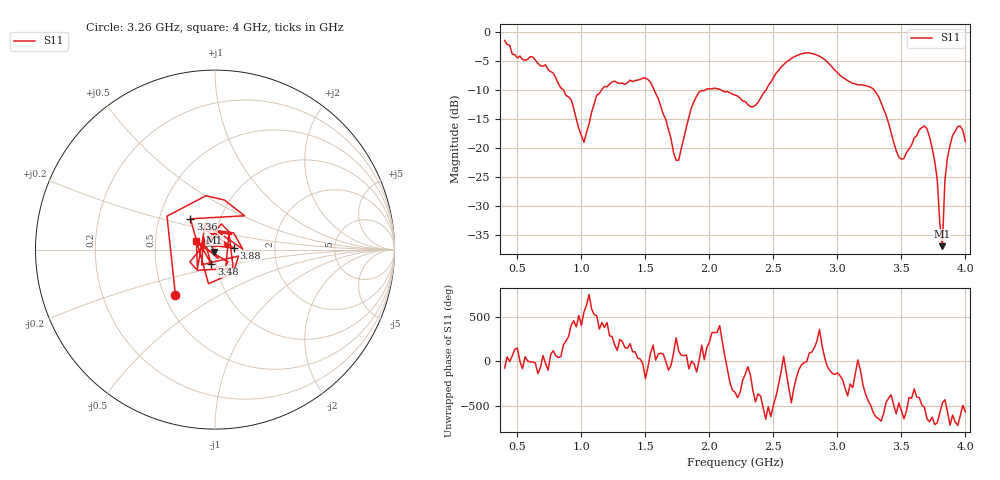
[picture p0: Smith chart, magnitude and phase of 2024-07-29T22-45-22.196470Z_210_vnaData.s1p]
!Created with skrf (http://scikit-rf.org).
# Hz S RI R 50.0
!freq ReS11 ImS11
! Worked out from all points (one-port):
!   181 points, 400 MHz to 4 GHz, reference 50 ohm
!   lowest |S11| = -36.9 dB at 3.82 GHz (marker M1), VSWR 1.03, Z = 49.6 - j1.37 ohm
!   |S11| at or under -10 dB: 1.57 GHz to 1.963 GHz (393.1 MHz wide, 22.3 % of centre); 2.096 GHz to 2.44 GHz (344.6 MHz wide, 15.2 % of centre); 3.289 GHz to end of sweep (the widest 3 of 4)
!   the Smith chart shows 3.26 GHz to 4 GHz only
!   S11 on the Smith chart (normalised r, x): 3.26 GHz: 0.57, -0.33; 3.36 GHz: 0.72, +0.26; 3.48 GHz: 0.95, -0.16; 3.88 GHz: 1.24, +0.02; 4 GHz: 0.81, +0.08
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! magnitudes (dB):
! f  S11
! 400 MHz  -1.4
! 500 MHz  -4.4
! 720 MHz  -5.6
! 860 MHz  -9.9
! 920 MHz  -11.6
! 1.02 GHz  -19.0
! 1.12 GHz  -10.8
! 1.3 GHz  -8.8
! 1.54 GHz  -8.6
! 1.76 GHz  -22.0
! 1.86 GHz  -13.0
! 1.92 GHz  -10.3
! 2.2 GHz  -10.8
! 2.34 GHz  -12.9
! 2.66 GHz  -4.2
! 2.84 GHz  -3.9
! 3.1 GHz  -8.6
! 3.26 GHz  -9.5
! 3.36 GHz  -13.2
! 3.48 GHz  -21.5
! 3.56 GHz  -20.1
! 3.7 GHz  -16.6
! 3.78 GHz  -25.4
! 3.82 GHz  -36.9
! 3.84 GHz  -25.5
! 3.88 GHz  -19.5
! 3.94 GHz  -16.2
! 4 GHz  -18.8
